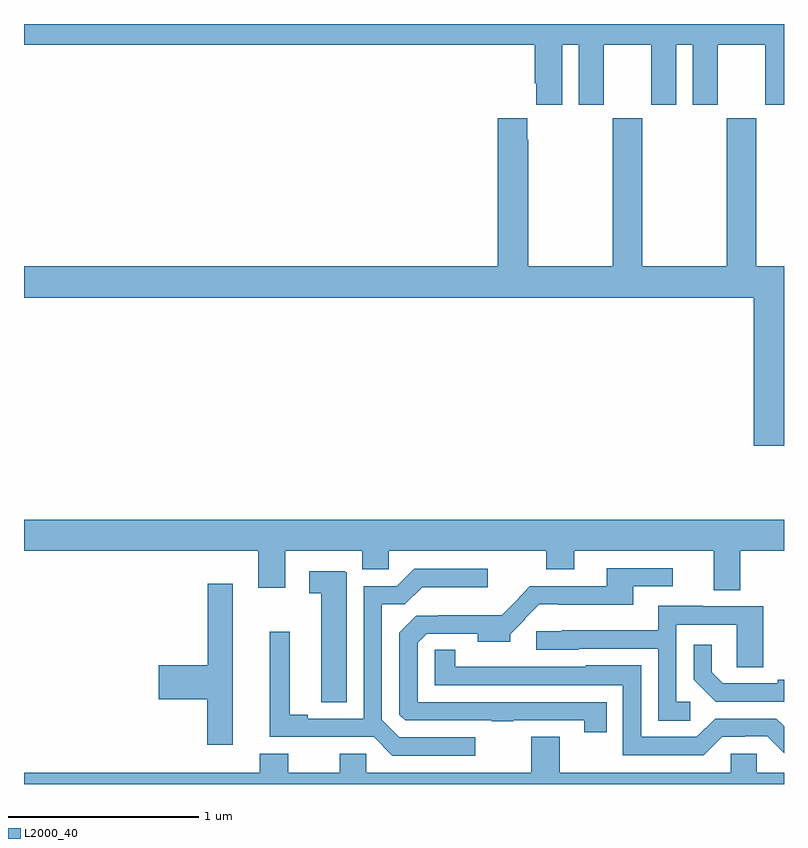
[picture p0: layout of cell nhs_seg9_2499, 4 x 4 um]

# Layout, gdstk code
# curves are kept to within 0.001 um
import gdstk
lib = gdstk.Library(unit=1e-6, precision=1e-09)
def P(c, l, *ps):  # polygons
    for p in ps: c.add(gdstk.Polygon(p, *l))
L2000_40 = (2000, 40)

nhs_seg9_2499 = lib.new_cell('nhs_seg9_2499')
P(nhs_seg9_2499, L2000_40, [(253,1224.392),(255.689,1224.392),(255.689,1224.187),(255.695,1224.187),(255.695,1224.075),(255.832,1224.075),(255.832,1224.392),(255.92,1224.392),(255.92,1224.075),(256.051,1224.075),(256.051,1224.392),(256.301,1224.392),(256.301,1224.075),(256.432,1224.075),(256.432,1224.392),(256.52,1224.392),(256.52,1224.075),(256.651,1224.075),(256.651,1224.392),(256.901,1224.392),(256.901,1224.075),(257,1224.075),(257,1224.5),(253,1224.5)],
  [(257,1223.224),(256.854,1223.224),(256.854,1224.004),(256.699,1224.004),(256.699,1223.224),(256.254,1223.224),(256.254,1224.004),(256.099,1224.004),(256.099,1223.224),(255.654,1223.224),(255.654,1223.891),(255.649,1223.891),(255.649,1224.004),(255.494,1224.004),(255.494,1223.224),(253,1223.224),(253,1223.06),(256.841,1223.06),(256.841,1222.281),(257,1222.281)],
  [(256.771,1221.728),(257,1221.728),(257,1221.892),(253,1221.892),(253,1221.728),(254.234,1221.728),(254.234,1221.534),(254.374,1221.534),(254.374,1221.728),(254.78,1221.728),(254.78,1221.63),(254.919,1221.63),(254.919,1221.728),(255.748,1221.728),(255.748,1221.629),(255.895,1221.629),(255.895,1221.728),(256.631,1221.728),(256.631,1221.52),(256.771,1221.52)],
  [(256.067,1220.931),(255.072,1220.931),(255.072,1221.243),(255.12,1221.291),(255.389,1221.291),(255.389,1221.248),(255.56,1221.248),(255.56,1221.288),(255.639,1221.366),(255.636,1221.369),(255.713,1221.446),(255.814,1221.446),(255.814,1221.443),(256.207,1221.443),(256.207,1221.54),(256.414,1221.54),(256.414,1221.636),(256.067,1221.636),(256.067,1221.54),(255.663,1221.54),(255.587,1221.463),(255.589,1221.461),(255.515,1221.388),(255.181,1221.388),(255.181,1221.386),(255.065,1221.386),(254.976,1221.297),(254.976,1220.865),(255.006,1220.835),(255.463,1220.835),(255.463,1220.83),(255.575,1220.83),(255.575,1220.835),(255.949,1220.835),(255.949,1220.772),(256.067,1220.772)],
  [(255.376,1220.745),(254.976,1220.745),(254.883,1220.838),(254.883,1221.445),(255.004,1221.445),(255.095,1221.536),(255.442,1221.536),(255.442,1221.633),(255.054,1221.633),(254.961,1221.54),(254.787,1221.54),(254.787,1220.844),(254.494,1220.844),(254.494,1220.864),(254.398,1220.864),(254.398,1221.301),(254.294,1221.301),(254.294,1220.748),(254.84,1220.748),(254.939,1220.649),(255.376,1220.649)],
  [(254.698,1221.611),(254.688,1221.621),(254.502,1221.621),(254.502,1221.505),(254.564,1221.505),(254.564,1220.929),(254.698,1220.929)],
  [(254.098,1221.553),(253.967,1221.553),(253.967,1221.125),(253.71,1221.125),(253.71,1220.947),(253.964,1220.947),(253.964,1220.706),(254.098,1220.706)],
  [(256.507,1220.934),(256.434,1220.934),(256.434,1221.339),(256.752,1221.339),(256.752,1221.115),(256.891,1221.115),(256.891,1221.435),(256.573,1221.435),(256.573,1221.439),(256.337,1221.439),(256.337,1221.31),(255.831,1221.31),(255.831,1221.303),(255.696,1221.303),(255.696,1221.207),(255.921,1221.207),(255.921,1221.213),(256.338,1221.213),(256.338,1220.833),(256.507,1220.833)],
  [(257,1221.05),(256.967,1221.05),(256.967,1221.03),(256.678,1221.03),(256.621,1221.087),(256.621,1221.232),(256.524,1221.232),(256.524,1221.05),(256.64,1220.934),(257,1220.934)],
  [(256.674,1220.748),(256.794,1220.748),(256.794,1220.751),(256.911,1220.751),(257,1220.662),(257,1220.803),(256.959,1220.844),(256.638,1220.844),(256.542,1220.748),(256.248,1220.748),(256.248,1221.124),(255.957,1221.124),(255.957,1221.117),(255.271,1221.118),(255.271,1221.206),(255.162,1221.206),(255.162,1221.021),(256.152,1221.021),(256.152,1220.652),(256.578,1220.652)],
  [(257,1220.56),(256.857,1220.56),(256.857,1220.658),(256.719,1220.658),(256.719,1220.56),(255.819,1220.56),(255.819,1220.75),(255.671,1220.75),(255.671,1220.56),(254.802,1220.56),(254.802,1220.658),(254.663,1220.658),(254.663,1220.56),(254.392,1220.56),(254.392,1220.659),(254.24,1220.659),(254.24,1220.56),(253,1220.56),(253,1220.5),(257,1220.5)])

lib.write_gds('nhs_seg9_2499.gds')
